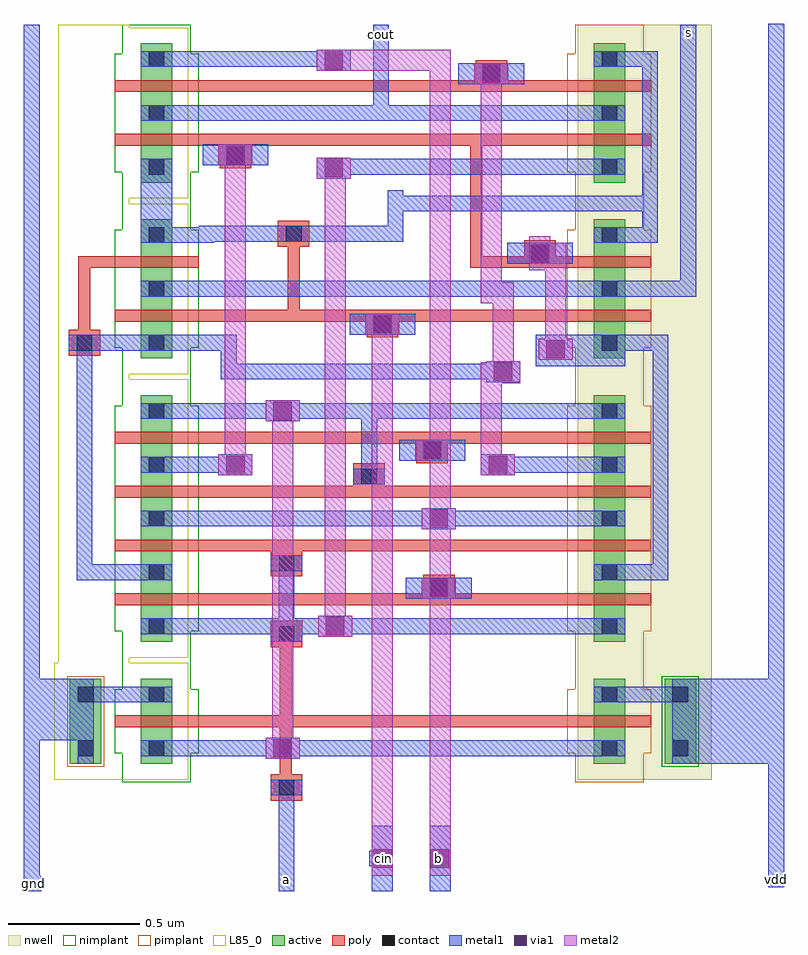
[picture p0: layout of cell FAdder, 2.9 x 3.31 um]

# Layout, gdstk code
from math import pi, radians
import gdstk
lib = gdstk.Library(unit=1e-6, precision=5e-10)
def R(c, l, rs):  # rectangles x0, y0, x1, y1
    for r in rs: c.add(gdstk.rectangle(r[:2], r[2:], *l))
active = (1, 0)
nwell = (2, 0)
poly = (3, 0)
nimplant = (4, 0)
pimplant = (5, 0)
contact = (6, 0)
metal1 = (7, 0)
via1 = (8, 0)
metal2 = (9, 0)
L85_0 = (85, 0)

nmos1v_cdns_764918663880 = lib.new_cell('nmos1v_CDNS_764918663880')
R(nmos1v_cdns_764918663880, active, [(-0.14,0,0,0.12), (0,0,0.045,0.12), (0.045,0,0.185,0.12), (-0.14,0.27,0.185,0.39)])
R(nmos1v_cdns_764918663880, poly, [(0,-0.1,0.045,-0.05), (0,-0.05,0.045,0), (0,0,0.045,0.12), (0,0.12,0.045,0.17), (0,0.17,0.045,0.22)])
R(nmos1v_cdns_764918663880, nimplant, [(-0.1,-0.1,0.145,0.22), (-0.21,-0.07,0.255,0.19)])
R(nmos1v_cdns_764918663880, pimplant, [(-0.15,0.26,0.195,0.4)])
R(nmos1v_cdns_764918663880, contact, [(-0.11,0.03,-0.05,0.09), (0.095,0.03,0.155,0.09), (-0.11,0.3,-0.05,0.36), (0.095,0.3,0.155,0.36)])
R(nmos1v_cdns_764918663880, metal1, [(-0.11,0,-0.05,0.12), (0.095,0,0.155,0.12), (-0.14,0.3,0.185,0.36)])
R(nmos1v_cdns_764918663880, L85_0, [(-0.2,-0.06,0.245,0.45)])

nmos1v_cdns_764918663881 = lib.new_cell('nmos1v_CDNS_764918663881')
R(nmos1v_cdns_764918663881, active, [(-0.05,0,0,0.12), (0,0,0.045,0.12), (0.045,0,0.095,0.12)])
R(nmos1v_cdns_764918663881, poly, [(0,-0.1,0.045,-0.05), (0,-0.05,0.045,0), (0,0,0.045,0.12), (0,0.12,0.045,0.17), (0,0.17,0.045,0.22)])
R(nmos1v_cdns_764918663881, nimplant, [(-0.1,-0.1,0.145,0.22), (-0.12,-0.07,0.165,0.19)])
R(nmos1v_cdns_764918663881, L85_0, [(-0.11,-0.06,0.155,0.18)])

nmos1v_cdns_764918663882 = lib.new_cell('nmos1v_CDNS_764918663882')
R(nmos1v_cdns_764918663882, active, [(-0.05,0,0,0.12), (0,0,0.045,0.12), (0.045,0,0.185,0.12)])
R(nmos1v_cdns_764918663882, poly, [(0,-0.1,0.045,-0.05), (0,-0.05,0.045,0), (0,0,0.045,0.12), (0,0.12,0.045,0.17), (0,0.17,0.045,0.22)])
R(nmos1v_cdns_764918663882, nimplant, [(-0.1,-0.1,0.145,0.22), (-0.12,-0.07,0.255,0.19)])
R(nmos1v_cdns_764918663882, contact, [(0.095,0.03,0.155,0.09)])
R(nmos1v_cdns_764918663882, metal1, [(0.095,0,0.155,0.12)])
R(nmos1v_cdns_764918663882, L85_0, [(-0.11,-0.06,0.245,0.18)])

nmos1v_cdns_764918663883 = lib.new_cell('nmos1v_CDNS_764918663883')
R(nmos1v_cdns_764918663883, active, [(-0.11,0,0,0.12), (0,0,0.045,0.12), (0.045,0,0.185,0.12)])
R(nmos1v_cdns_764918663883, poly, [(0,-0.1,0.045,-0.05), (0,-0.05,0.045,0), (0,0,0.045,0.12), (0,0.12,0.045,0.17), (0,0.17,0.045,0.22)])
R(nmos1v_cdns_764918663883, nimplant, [(-0.1,-0.1,0.145,0.22), (-0.18,-0.07,0.255,0.19)])
R(nmos1v_cdns_764918663883, contact, [(-0.11,0.03,-0.05,0.09), (0.095,0.03,0.155,0.09)])
R(nmos1v_cdns_764918663883, metal1, [(-0.11,0,-0.05,0.12), (0.095,0,0.155,0.12)])
R(nmos1v_cdns_764918663883, L85_0, [(-0.17,-0.06,0.245,0.18)])

pmos1v_cdns_764918663884 = lib.new_cell('pmos1v_CDNS_764918663884')
R(pmos1v_cdns_764918663884, active, [(-0.14,0,0,0.12), (0,0,0.045,0.12), (0.045,0,0.095,0.12)])
R(pmos1v_cdns_764918663884, nwell, [(-0.2,-0.06,0.155,0.18)])
R(pmos1v_cdns_764918663884, poly, [(0,-0.1,0.045,-0.05), (0,-0.05,0.045,0), (0,0,0.045,0.12), (0,0.12,0.045,0.17), (0,0.17,0.045,0.22)])
R(pmos1v_cdns_764918663884, pimplant, [(-0.1,-0.1,0.145,0.22), (-0.21,-0.07,0.165,0.19)])
R(pmos1v_cdns_764918663884, contact, [(-0.11,0.03,-0.05,0.09)])
R(pmos1v_cdns_764918663884, metal1, [(-0.11,0,-0.05,0.12)])

pmos1v_cdns_764918663885 = lib.new_cell('pmos1v_CDNS_764918663885')
R(pmos1v_cdns_764918663885, active, [(-0.14,0,0,0.12), (0,0,0.045,0.12), (0.045,0,0.155,0.12)])
R(pmos1v_cdns_764918663885, nwell, [(-0.2,-0.06,0.215,0.18)])
R(pmos1v_cdns_764918663885, poly, [(0,-0.1,0.045,-0.05), (0,-0.05,0.045,0), (0,0,0.045,0.12), (0,0.12,0.045,0.17), (0,0.17,0.045,0.22)])
R(pmos1v_cdns_764918663885, pimplant, [(-0.1,-0.1,0.145,0.22), (-0.21,-0.07,0.225,0.19)])
R(pmos1v_cdns_764918663885, contact, [(-0.11,0.03,-0.05,0.09), (0.095,0.03,0.155,0.09)])
R(pmos1v_cdns_764918663885, metal1, [(-0.11,0,-0.05,0.12), (0.095,0,0.155,0.12)])

nmos1v_cdns_764918663886 = lib.new_cell('nmos1v_CDNS_764918663886')
R(nmos1v_cdns_764918663886, active, [(-0.11,0,0,0.12), (0,0,0.045,0.12), (0.045,0,0.155,0.12)])
R(nmos1v_cdns_764918663886, poly, [(0,-0.1,0.045,-0.05), (0,-0.05,0.045,0), (0,0,0.045,0.12), (0,0.12,0.045,0.17), (0,0.17,0.045,0.22)])
R(nmos1v_cdns_764918663886, nimplant, [(-0.1,-0.1,0.145,0.22), (-0.18,-0.07,0.225,0.19)])
R(nmos1v_cdns_764918663886, contact, [(-0.11,0.03,-0.05,0.09), (0.095,0.03,0.155,0.09)])
R(nmos1v_cdns_764918663886, metal1, [(-0.11,0,-0.05,0.12), (0.095,0,0.155,0.12)])
R(nmos1v_cdns_764918663886, L85_0, [(-0.17,-0.06,0.215,0.18)])

pmos1v_cdns_764918663887 = lib.new_cell('pmos1v_CDNS_764918663887')
R(pmos1v_cdns_764918663887, active, [(-0.05,0,0,0.12), (0,0,0.045,0.12), (0.045,0,0.155,0.12)])
R(pmos1v_cdns_764918663887, nwell, [(-0.11,-0.06,0.215,0.18)])
R(pmos1v_cdns_764918663887, poly, [(0,-0.1,0.045,-0.05), (0,-0.05,0.045,0), (0,0,0.045,0.12), (0,0.12,0.045,0.17), (0,0.17,0.045,0.22)])
R(pmos1v_cdns_764918663887, pimplant, [(-0.1,-0.1,0.145,0.22), (-0.12,-0.07,0.225,0.19)])
R(pmos1v_cdns_764918663887, contact, [(0.095,0.03,0.155,0.09)])
R(pmos1v_cdns_764918663887, metal1, [(0.095,0,0.155,0.12)])

pmos1v_cdns_764918663888 = lib.new_cell('pmos1v_CDNS_764918663888')
R(pmos1v_cdns_764918663888, active, [(-0.11,0,0,0.12), (0,0,0.045,0.12), (0.045,0,0.155,0.12)])
R(pmos1v_cdns_764918663888, nwell, [(-0.17,-0.06,0.215,0.18)])
R(pmos1v_cdns_764918663888, poly, [(0,-0.1,0.045,-0.05), (0,-0.05,0.045,0), (0,0,0.045,0.12), (0,0.12,0.045,0.17), (0,0.17,0.045,0.22)])
R(pmos1v_cdns_764918663888, pimplant, [(-0.1,-0.1,0.145,0.22), (-0.18,-0.07,0.225,0.19)])
R(pmos1v_cdns_764918663888, contact, [(-0.11,0.03,-0.05,0.09), (0.095,0.03,0.155,0.09)])
R(pmos1v_cdns_764918663888, metal1, [(-0.11,0,-0.05,0.12), (0.095,0,0.155,0.12)])

pmos1v_cdns_764918663889 = lib.new_cell('pmos1v_CDNS_764918663889')
R(pmos1v_cdns_764918663889, active, [(-0.14,-0.27,0.185,-0.15), (-0.14,0,0,0.12), (0,0,0.045,0.12), (0.045,0,0.185,0.12)])
R(pmos1v_cdns_764918663889, nwell, [(-0.2,-0.33,0.245,0.18)])
R(pmos1v_cdns_764918663889, poly, [(0,-0.1,0.045,-0.05), (0,-0.05,0.045,0), (0,0,0.045,0.12), (0,0.12,0.045,0.17), (0,0.17,0.045,0.22)])
R(pmos1v_cdns_764918663889, nimplant, [(-0.15,-0.28,0.195,-0.14)])
R(pmos1v_cdns_764918663889, pimplant, [(-0.1,-0.1,0.145,0.22), (-0.21,-0.07,0.255,0.19)])
R(pmos1v_cdns_764918663889, contact, [(-0.11,-0.24,-0.05,-0.18), (0.095,-0.24,0.155,-0.18), (-0.11,0.03,-0.05,0.09), (0.095,0.03,0.155,0.09)])
R(pmos1v_cdns_764918663889, metal1, [(-0.14,-0.24,0.185,-0.18), (-0.11,0,-0.05,0.12), (0.095,0,0.155,0.12)])

pmos1v_cdns_764918663881 = lib.new_cell('pmos1v_CDNS_7649186638810')
R(pmos1v_cdns_764918663881, active, [(-0.14,0,0,0.12), (0,0,0.045,0.12), (0.045,0,0.095,0.12)])
R(pmos1v_cdns_764918663881, nwell, [(-0.2,-0.06,0.155,0.18)])
R(pmos1v_cdns_764918663881, poly, [(0,-0.1,0.045,-0.05), (0,-0.05,0.045,0), (0,0,0.045,0.12), (0,0.12,0.045,0.17), (0,0.17,0.045,0.22)])
R(pmos1v_cdns_764918663881, pimplant, [(-0.1,-0.1,0.145,0.22), (-0.21,-0.07,0.165,0.19)])
R(pmos1v_cdns_764918663881, contact, [(-0.11,0.03,-0.05,0.09)])
R(pmos1v_cdns_764918663881, metal1, [(-0.11,0,-0.05,0.12)])

m1_po_cdns_764918663880 = lib.new_cell('M1_PO_CDNS_764918663880')
R(m1_po_cdns_764918663880, poly, [(-0.05,-0.06,0.05,0.06)])
R(m1_po_cdns_764918663880, contact, [(-0.03,-0.03,0.03,0.03)])
R(m1_po_cdns_764918663880, metal1, [(-0.03,-0.06,0.03,0.06)])

m2_m1_cdns_764918663881 = lib.new_cell('M2_M1_CDNS_764918663881')
R(m2_m1_cdns_764918663881, metal1, [(-0.04,-0.065,0.04,0.065)])
R(m2_m1_cdns_764918663881, via1, [(-0.035,-0.035,0.035,0.035)])
R(m2_m1_cdns_764918663881, metal2, [(-0.04,-0.065,0.04,0.065)])

m2_m1_cdns_764918663882 = lib.new_cell('M2_M1_CDNS_764918663882')
R(m2_m1_cdns_764918663882, metal1, [(-0.04,-0.125,0.04,0.125)])
R(m2_m1_cdns_764918663882, via1, [(-0.035,-0.035,0.035,0.035)])
R(m2_m1_cdns_764918663882, metal2, [(-0.04,-0.065,0.04,0.065)])

m1_po_cdns_764918663883 = lib.new_cell('M1_PO_CDNS_764918663883')
R(m1_po_cdns_764918663883, poly, [(-0.05,-0.06,0.05,0.06)])
R(m1_po_cdns_764918663883, contact, [(-0.03,-0.03,0.03,0.03)])
R(m1_po_cdns_764918663883, metal1, [(-0.04,-0.125,0.04,0.125)])

m2_m1_cdns_764918663884 = lib.new_cell('M2_M1_CDNS_764918663884')
R(m2_m1_cdns_764918663884, metal1, [(-0.04,-0.065,0.04,0.065)])
R(m2_m1_cdns_764918663884, via1, [(-0.035,-0.035,0.035,0.035)])
R(m2_m1_cdns_764918663884, metal2, [(-0.065,-0.04,0.065,0.04)])

m2_m1_cdns_764918663885 = lib.new_cell('M2_M1_CDNS_764918663885')
R(m2_m1_cdns_764918663885, metal1, [(-0.125,-0.04,0.125,0.04)])
R(m2_m1_cdns_764918663885, via1, [(-0.035,-0.035,0.035,0.035)])
R(m2_m1_cdns_764918663885, metal2, [(-0.065,-0.04,0.065,0.04)])

fadder = lib.new_cell('FAdder')
R(fadder, nwell, [(2.655,1.7,2.895,1.865), (2.895,1.8,3.165,4.23), (2.655,2.855,2.895,2.93), (2.655,3.525,2.895,3.6), (2.655,4.195,2.895,4.23)])
R(fadder, metal1, [(0.55,0.93,0.61,0.99), (1.515,0.93,1.575,0.99), (3.38,0.945,3.44,1.005), (1.885,1.025,1.945,1.085), (2.095,1.025,2.155,1.085), (1.875,4.17,1.935,4.23), (3.045,4.17,3.105,4.23)])
R(fadder, L85_0, [(0.675,1.8,0.945,4.23)])
fadder.add(gdstk.FlexPath([(2.51,3.36),(2.51,3.3275)], 0.045, ends=(0.05, 0.0225), simple_path=True, layer=3, datatype=0))  # poly
fadder.add(gdstk.FlexPath([(2.325,3.9975),(2.325,4.045)], 0.045, ends=(0.0225, 0.05), simple_path=True, layer=3, datatype=0))  # poly
fadder.add(gdstk.FlexPath([(2.6375,3.9975),(2.325,3.9975)], 0.045, ends="extended", simple_path=True, layer=3, datatype=0))  # poly
fadder.add(gdstk.FlexPath([(2.64,3.1225),(1.5725,3.1225)], 0.045, ends=(0.0225, 0), simple_path=True, layer=3, datatype=0))  # poly
fadder.add(gdstk.FlexPath([(1.5725,3.1225),(1.185,3.1225)], 0.045, ends=(0.0225, 0), simple_path=True, layer=3, datatype=0))  # poly
fadder.add(gdstk.FlexPath([(2.2675,3.7925),(1.185,3.7925)], 0.045, ends=(0.0225, 0), simple_path=True, layer=3, datatype=0))  # poly
fadder.add(gdstk.FlexPath([(1.5725,3.1225),(1.5725,3.435)], 0.045, ends=(0.0225, 0.05), simple_path=True, layer=3, datatype=0))  # poly
fadder.add(gdstk.FlexPath([(0.775,3.02),(0.775,3.3275)], 0.045, ends=(0.05, 0.0225), simple_path=True, layer=3, datatype=0))  # poly
fadder.add(gdstk.FlexPath([(0.775,3.3275),(0.89,3.3275)], 0.045, ends=(0.0225, 0), simple_path=True, layer=3, datatype=0))  # poly
fadder.add(gdstk.FlexPath([(1.5425,1.91),(1.5425,1.325)], 0.045, ends="flush", simple_path=True, layer=3, datatype=0))  # poly
fadder.add(gdstk.FlexPath([(2.64,3.7925),(2.2675,3.7925)], 0.045, ends="extended", simple_path=True, layer=3, datatype=0))  # poly
fadder.add(gdstk.FlexPath([(2.2675,3.3275),(2.2675,3.7925)], 0.045, ends="extended", simple_path=True, layer=3, datatype=0))  # poly
fadder.add(gdstk.FlexPath([(1.185,2.0425),(2.64,2.0425)], 0.045, ends="flush", simple_path=True, layer=3, datatype=0))  # poly
fadder.add(gdstk.FlexPath([(1.185,2.6575),(2.64,2.6575)], 0.045, ends="flush", simple_path=True, layer=3, datatype=0))  # poly
fadder.add(gdstk.FlexPath([(2.615,3.3275),(2.51,3.3275)], 0.045, ends=(0, 0.0225), simple_path=True, layer=3, datatype=0))  # poly
fadder.add(gdstk.FlexPath([(1.185,3.9975),(2.64,3.9975)], 0.045, ends="flush", simple_path=True, layer=3, datatype=0))  # poly
fadder.add(gdstk.FlexPath([(2.51,3.3275),(2.2675,3.3275)], 0.045, ends="extended", simple_path=True, layer=3, datatype=0))  # poly
fadder.add(gdstk.FlexPath([(1.185,2.4525),(2.64,2.4525)], 0.045, ends="flush", simple_path=True, layer=3, datatype=0))  # poly
fadder.add(gdstk.FlexPath([(2.64,1.5775),(1.185,1.5775)], 0.045, ends=(0.0225, 0), simple_path=True, layer=3, datatype=0))  # poly
fadder.add(gdstk.FlexPath([(1.185,2.2475),(2.64,2.2475)], 0.045, ends="flush", simple_path=True, layer=3, datatype=0))  # poly
fadder.add(gdstk.FlexPath([(2.97,2.115),(2.97,2.145)], 0.06, ends=(0, 0.03), simple_path=True, layer=7, datatype=0))  # metal1
fadder.add(gdstk.FlexPath([(2.775,2.99),(2.57,2.99)], 0.12, ends=(0.06, 0), simple_path=True, layer=7, datatype=0))  # metal1
fadder.add(gdstk.FlexPath([(2.97,2.145),(2.97,3.02)], 0.06, ends=(0, 0.03), simple_path=True, layer=7, datatype=0))  # metal1
fadder.add(gdstk.FlexPath([(1.545,0.98),(1.515,0.98)], 0.06, ends=(0.03, 0), simple_path=True, layer=7, datatype=0))  # metal1
fadder.add(gdstk.FlexPath([(2.57,2.99),(2.57,2.995)], 0.06, ends=(0.03, 0.04), simple_path=True, layer=7, datatype=0))  # metal1
fadder.add(gdstk.FlexPath([(2.57,2.99),(2.495,2.99)], 0.12, ends=(0.06, 0), simple_path=True, layer=7, datatype=0))  # metal1
fadder.add(gdstk.FlexPath([(1.11,2.555),(1.35,2.555)], 0.06, ends=(0, 0.065), simple_path=True, layer=7, datatype=0))  # metal1
fadder.add(gdstk.FlexPath([(2.775,1.94),(1.73,1.94)], 0.06, ends=(0.03, 0.065), simple_path=True, layer=7, datatype=0))  # metal1
fadder.add(gdstk.FlexPath([(1.725,3.685),(1.74,3.685)], 0.06, ends=(0.065, 0.03), simple_path=True, layer=7, datatype=0))  # metal1
fadder.add(gdstk.FlexPath([(1.74,3.69),(2.775,3.69)], 0.06, ends="extended", simple_path=True, layer=7, datatype=0))  # metal1
fadder.add(gdstk.FlexPath([(1.545,1.94),(1.05,1.94)], 0.06, ends=(0.03, 0), simple_path=True, layer=7, datatype=0))  # metal1
fadder.add(gdstk.FlexPath([(1.73,1.94),(1.545,1.94)], 0.06, ends=(0.065, 0), simple_path=True, layer=7, datatype=0))  # metal1
fadder.add(gdstk.FlexPath([(1.545,1.94),(1.545,1.91)], 0.06, ends="extended", simple_path=True, layer=7, datatype=0))  # metal1
fadder.add(gdstk.FlexPath([(1.05,2.35),(2.125,2.35)], 0.06, ends=(0, 0.065), simple_path=True, layer=7, datatype=0))  # metal1
fadder.add(gdstk.FlexPath([(2.125,2.35),(2.775,2.35)], 0.06, ends=(0.065, 0), simple_path=True, layer=7, datatype=0))  # metal1
fadder.add(gdstk.FlexPath([(1.05,2.76),(1.53,2.76)], 0.06, ends=(0, 0.065), simple_path=True, layer=7, datatype=0))  # metal1
fadder.add(gdstk.FlexPath([(2.775,1.475),(1.53,1.475)], 0.06, ends=(0, 0.065), simple_path=True, layer=7, datatype=0))  # metal1
fadder.add(gdstk.FlexPath([(1.53,1.475),(1.05,1.475)], 0.06, ends=(0.065, 0), simple_path=True, layer=7, datatype=0))  # metal1
fadder.add(gdstk.FlexPath([(1.53,2.76),(1.86,2.76)], 0.06, ends=(0.065, 0.03), simple_path=True, layer=7, datatype=0))  # metal1
fadder.add(gdstk.FlexPath([(3.41,1.005),(3.41,4.235)], 0.06, ends="flush", simple_path=True, layer=7, datatype=0))  # metal1
fadder.add(gdstk.FlexPath([(3.105,3.225),(3.075,3.225)], 0.06, ends="flush", simple_path=True, layer=7, datatype=0))  # metal1
fadder.add(gdstk.FlexPath([(3.075,3.225),(2.835,3.225)], 0.06, ends="flush", simple_path=True, layer=7, datatype=0))  # metal1
fadder.add(gdstk.FlexPath([(1.325,3.05),(1.325,3.02)], 0.06, ends=(0, 0.03), simple_path=True, layer=7, datatype=0))  # metal1
fadder.add(gdstk.FlexPath([(1.325,3.02),(1.325,2.91)], 0.06, ends=(0, 0.03), simple_path=True, layer=7, datatype=0))  # metal1
fadder.add(gdstk.FlexPath([(0.575,0.955),(0.575,4.23)], 0.06, ends="flush", simple_path=True, layer=7, datatype=0))  # metal1
fadder.add(gdstk.FlexPath([(2.93,3.55),(2.93,4.1)], 0.06, ends=(0.03, 0), simple_path=True, layer=7, datatype=0))  # metal1
fadder.add(gdstk.FlexPath([(1.96,3.57),(1.96,3.55)], 0.06, ends=(0, 0.03), simple_path=True, layer=7, datatype=0))  # metal1
fadder.add(gdstk.FlexPath([(1.24,3.435),(1.5725,3.435)], 0.06, ends=(0.03, 0.06), simple_path=True, layer=7, datatype=0))  # metal1
fadder.add(gdstk.FlexPath([(1.5725,3.435),(1.96,3.435)], 0.06, ends=(0.06, 0.03), simple_path=True, layer=7, datatype=0))  # metal1
fadder.add(gdstk.FlexPath([(1.11,3.02),(1.325,3.02)], 0.06, ends="flush", simple_path=True, layer=7, datatype=0))  # metal1
fadder.add(gdstk.FlexPath([(1.905,3.895),(1.05,3.895)], 0.06, ends="extended", simple_path=True, layer=7, datatype=0))  # metal1
fadder.add(gdstk.FlexPath([(1.86,2.76),(2.775,2.76)], 0.06, ends="extended", simple_path=True, layer=7, datatype=0))  # metal1
fadder.add(gdstk.FlexPath([(1.96,3.435),(1.96,3.57)], 0.06, ends="extended", simple_path=True, layer=7, datatype=0))  # metal1
fadder.add(gdstk.FlexPath([(2.93,3.43),(2.93,4.1)], 0.06, ends="extended", simple_path=True, layer=7, datatype=0))  # metal1
fadder.add(gdstk.FlexPath([(1.96,3.55),(2.93,3.55)], 0.06, ends="extended", simple_path=True, layer=7, datatype=0))  # metal1
fadder.add(gdstk.FlexPath([(1.24,3.43),(1.24,3.435)], 0.06, ends="extended", simple_path=True, layer=7, datatype=0))  # metal1
fadder.add(gdstk.FlexPath([(1.05,3.43),(1.24,3.43)], 0.06, ends=(0, 0.03), simple_path=True, layer=7, datatype=0))  # metal1
fadder.add(gdstk.FlexPath([(1.725,4.1),(1.725,4.095)], 0.06, ends=(0.03, 0.04), simple_path=True, layer=7, datatype=0))  # metal1
fadder.add(gdstk.FlexPath([(2.715,2.555),(2.35,2.555)], 0.06, ends=(0, 0.065), simple_path=True, layer=7, datatype=0))  # metal1
fadder.add(gdstk.FlexPath([(1.325,2.91),(2.37,2.91)], 0.06, ends=(0.03, 0.065), simple_path=True, layer=7, datatype=0))  # metal1
fadder.add(gdstk.FlexPath([(1.05,3.225),(2.775,3.225)], 0.06, ends="flush", simple_path=True, layer=7, datatype=0))  # metal1
fadder.add(gdstk.FlexPath([(1.92,1.055),(1.9,1.055)], 0.06, ends=(0.03, 0.04), simple_path=True, layer=7, datatype=0))  # metal1
fadder.add(gdstk.FlexPath([(0.775,3.02),(0.99,3.02)], 0.06, ends=(0.06, 0), simple_path=True, layer=7, datatype=0))  # metal1
fadder.add(gdstk.FlexPath([(0.99,2.145),(0.775,2.145)], 0.06, ends=(0, 0.03), simple_path=True, layer=7, datatype=0))  # metal1
fadder.add(gdstk.FlexPath([(0.775,2.145),(0.775,3.02)], 0.06, ends="extended", simple_path=True, layer=7, datatype=0))  # metal1
fadder.add(gdstk.FlexPath([(1.545,1.325),(1.545,0.98)], 0.06, ends=(0, 0.03), simple_path=True, layer=7, datatype=0))  # metal1
fadder.add(gdstk.FlexPath([(1.545,2.18),(1.545,1.94)], 0.06, ends="extended", simple_path=True, layer=7, datatype=0))  # metal1
fadder.add(gdstk.FlexPath([(1.74,3.685),(1.74,3.69)], 0.06, ends="extended", simple_path=True, layer=7, datatype=0))  # metal1
fadder.add(gdstk.FlexPath([(2.125,1.055),(2.13,1.055)], 0.06, ends=(0.03, 0.04), simple_path=True, layer=7, datatype=0))  # metal1
fadder.add(gdstk.FlexPath([(2.835,3.43),(2.93,3.43)], 0.06, ends=(0, 0.03), simple_path=True, layer=7, datatype=0))  # metal1
fadder.add(gdstk.FlexPath([(2.835,2.145),(2.97,2.145)], 0.06, ends="flush", simple_path=True, layer=7, datatype=0))  # metal1
fadder.add(gdstk.FlexPath([(2.97,3.02),(2.835,3.02)], 0.06, ends=(0.03, 0), simple_path=True, layer=7, datatype=0))  # metal1
fadder.add(gdstk.FlexPath([(1.905,4.17),(1.905,3.895)], 0.06, ends=(0, 0.03), simple_path=True, layer=7, datatype=0))  # metal1
fadder.add(gdstk.FlexPath([(3.075,1.5775),(3.36,1.5775)], 0.325, ends=(0, 0.03), simple_path=True, layer=7, datatype=0))  # metal1
fadder.add(gdstk.FlexPath([(2.775,3.895),(1.905,3.895)], 0.06, ends="extended", simple_path=True, layer=7, datatype=0))  # metal1
fadder.add(gdstk.FlexPath([(1.05,3.66),(1.05,3.46)], 0.12, ends="flush", simple_path=True, layer=7, datatype=0))  # metal1
fadder.add(gdstk.FlexPath([(3.075,4.17),(3.075,3.225)], 0.06, ends="flush", simple_path=True, layer=7, datatype=0))  # metal1
fadder.add(gdstk.FlexPath([(2.93,4.1),(2.76,4.1)], 0.06, ends=(0.03, 0), simple_path=True, layer=7, datatype=0))  # metal1
fadder.add(gdstk.FlexPath([(1.86,2.76),(1.86,2.51)], 0.06, ends="extended", simple_path=True, layer=7, datatype=0))  # metal1
fadder.add(gdstk.FlexPath([(0.75,1.6225),(0.63,1.6225)], 0.235, ends=(0, 0.03), simple_path=True, layer=7, datatype=0))  # metal1
fadder.add(gdstk.FlexPath([(1.05,4.1),(1.725,4.1)], 0.06, ends=(0, 0.03), simple_path=True, layer=7, datatype=0))  # metal1
fadder.add(gdstk.FlexPath([(0.99,1.68),(0.75,1.68)], 0.06, ends="flush", simple_path=True, layer=7, datatype=0))  # metal1
fadder.add(gdstk.FlexPath([(2.715,1.68),(3.015,1.68)], 0.06, ends="flush", simple_path=True, layer=7, datatype=0))  # metal1
fadder.add(gdstk.FlexPath([(2.125,2.35),(2.13,2.35)], 0.08, ends=(0.065, 0.04), simple_path=True, layer=9, datatype=0))  # metal2
fadder.add(gdstk.FlexPath([(1.725,4.095),(1.715,4.095)], 0.08, ends=(0.065, 0), simple_path=True, layer=9, datatype=0))  # metal2
fadder.add(gdstk.FlexPath([(2.13,4.095),(1.725,4.095)], 0.08, ends=(0.04, 0.065), simple_path=True, layer=9, datatype=0))  # metal2
fadder.add(gdstk.FlexPath([(2.37,2.91),(2.37,2.905)], 0.08, ends=(0.04, 0), simple_path=True, layer=9, datatype=0))  # metal2
fadder.add(gdstk.FlexPath([(2.37,3.21),(2.37,2.905)], 0.08, ends=(0.04, 0.035), simple_path=True, layer=9, datatype=0))  # metal2
fadder.add(gdstk.FlexPath([(2.325,3.21),(2.37,3.21)], 0.08, ends="extended", simple_path=True, layer=9, datatype=0))  # metal2
fadder.add(gdstk.FlexPath([(2.325,4.045),(2.325,3.21)], 0.08, ends="extended", simple_path=True, layer=9, datatype=0))  # metal2
fadder.add(gdstk.FlexPath([(2.325,2.905),(2.37,2.905)], 0.08, ends=(0.04, 0.065), simple_path=True, layer=9, datatype=0))  # metal2
fadder.add(gdstk.FlexPath([(1.35,2.555),(1.35,3.735)], 0.08, ends="extended", simple_path=True, layer=9, datatype=0))  # metal2
fadder.add(gdstk.FlexPath([(2.57,2.995),(2.57,3.36)], 0.08, ends="extended", simple_path=True, layer=9, datatype=0))  # metal2
fadder.add(gdstk.FlexPath([(2.57,3.36),(2.51,3.36)], 0.08, ends="extended", simple_path=True, layer=9, datatype=0))  # metal2
fadder.add(gdstk.FlexPath([(1.53,1.475),(1.53,2.76)], 0.08, ends="extended", simple_path=True, layer=9, datatype=0))  # metal2
fadder.add(gdstk.FlexPath([(2.325,2.525),(2.325,2.905)], 0.08, ends=(0, 0.04), simple_path=True, layer=9, datatype=0))  # metal2
fadder.add(gdstk.FlexPath([(1.73,1.94),(1.73,3.72)], 0.08, ends=(0.04, 0), simple_path=True, layer=9, datatype=0))  # metal2
fadder.add(gdstk.FlexPath([(1.91,1.055),(1.91,3.09)], 0.08, ends=(0.065, 0.04), simple_path=True, layer=9, datatype=0))  # metal2
fadder.add(gdstk.FlexPath([(2.13,2.35),(2.13,4.095)], 0.08, ends=(0, 0.04), simple_path=True, layer=9, datatype=0))  # metal2
fadder.add(gdstk.FlexPath([(2.13,1.055),(2.13,2.35)], 0.08, ends=(0.065, 0.04), simple_path=True, layer=9, datatype=0))  # metal2
fadder.add(gdstk.Reference(nmos1v_cdns_764918663880, (1.11,1.6), rotation=3*pi/2, x_reflection=True))
fadder.add(gdstk.Reference(nmos1v_cdns_764918663881, (1.11,2.225), rotation=pi/2))
fadder.add(gdstk.Reference(nmos1v_cdns_764918663882, (1.11,3.145), rotation=3*pi/2, x_reflection=True))
fadder.add(gdstk.Reference(nmos1v_cdns_764918663882, (1.11,2.635), rotation=pi/2))
fadder.add(gdstk.Reference(nmos1v_cdns_764918663882, (1.11,3.975), rotation=pi/2))
fadder.add(gdstk.Reference(nmos1v_cdns_764918663883, (1.11,2.065), rotation=3*pi/2, x_reflection=True))
fadder.add(gdstk.Reference(nmos1v_cdns_764918663883, (1.11,3.815), rotation=3*pi/2, x_reflection=True))
fadder.add(gdstk.Reference(nmos1v_cdns_764918663883, (1.11,3.305), rotation=pi/2))
fadder.add(gdstk.Reference(pmos1v_cdns_764918663884, (2.835,2.68), rotation=3*pi/2, x_reflection=True))
fadder.add(gdstk.Reference(pmos1v_cdns_764918663884, (2.835,2.02), rotation=pi/2))
fadder.add(gdstk.Reference(pmos1v_cdns_764918663884, (2.835,3.77), rotation=pi/2))
fadder.add(gdstk.Reference(pmos1v_cdns_764918663885, (2.835,4.02), rotation=3*pi/2, x_reflection=True))
fadder.add(gdstk.Reference(pmos1v_cdns_764918663885, (2.835,3.35), rotation=3*pi/2, x_reflection=True))
fadder.add(gdstk.Reference(nmos1v_cdns_764918663886, (1.11,2.475), rotation=3*pi/2, x_reflection=True))
fadder.add(gdstk.Reference(pmos1v_cdns_764918663887, (2.835,2.27), rotation=3*pi/2, x_reflection=True))
fadder.add(gdstk.Reference(pmos1v_cdns_764918663888, (2.835,2.43), rotation=pi/2))
fadder.add(gdstk.Reference(pmos1v_cdns_764918663889, (2.835,1.6), rotation=3*pi/2, x_reflection=True))
fadder.add(gdstk.Reference(pmos1v_cdns_764918663881, (2.835,3.1), rotation=pi/2))
fadder.add(gdstk.Reference(m1_po_cdns_764918663880, (1.5725,3.435), rotation=pi/2))
fadder.add(gdstk.Reference(m1_po_cdns_764918663880, (0.775,3.02), rotation=pi/2))
fadder.add(gdstk.Reference(m1_po_cdns_764918663880, (1.545,2.18), rotation=pi/2))
fadder.add(gdstk.Reference(m1_po_cdns_764918663880, (1.545,1.91), rotation=pi/2))
fadder.add(gdstk.Reference(m1_po_cdns_764918663880, (1.545,1.325), rotation=pi/2))
fadder.add(gdstk.Reference(m1_po_cdns_764918663880, (1.86,2.51), rotation=pi/2))
fadder.add(gdstk.Reference(m2_m1_cdns_764918663881, (1.35,2.555), rotation=pi/2))
fadder.add(gdstk.Reference(m2_m1_cdns_764918663881, (2.57,2.995), rotation=pi/2))
fadder.add(gdstk.Reference(m2_m1_cdns_764918663881, (1.725,4.095), rotation=pi/2))
fadder.add(gdstk.Reference(m2_m1_cdns_764918663881, (2.125,2.35), rotation=pi/2))
fadder.add(gdstk.Reference(m2_m1_cdns_764918663881, (1.53,2.76), rotation=pi/2))
fadder.add(gdstk.Reference(m2_m1_cdns_764918663881, (2.35,2.555), rotation=pi/2))
fadder.add(gdstk.Reference(m2_m1_cdns_764918663881, (2.37,2.91), rotation=pi/2))
fadder.add(gdstk.Reference(m2_m1_cdns_764918663881, (1.53,1.475), rotation=pi/2))
fadder.add(gdstk.Reference(m2_m1_cdns_764918663881, (1.725,3.685), rotation=pi/2))
fadder.add(gdstk.Reference(m2_m1_cdns_764918663881, (1.73,1.94), rotation=pi/2))
fadder.add(gdstk.Reference(m2_m1_cdns_764918663882, (1.35,3.735), rotation=pi/2))
fadder.add(gdstk.Reference(m2_m1_cdns_764918663882, (2.125,2.085), rotation=pi/2))
fadder.add(gdstk.Reference(m2_m1_cdns_764918663882, (2.1,2.61), rotation=pi/2))
fadder.add(gdstk.Reference(m2_m1_cdns_764918663882, (1.91,3.09), rotation=pi/2))
fadder.add(gdstk.Reference(m2_m1_cdns_764918663882, (2.325,4.045), rotation=pi/2))
fadder.add(gdstk.Reference(m1_po_cdns_764918663883, (1.35,3.735), rotation=pi/2))
fadder.add(gdstk.Reference(m1_po_cdns_764918663883, (2.51,3.36), rotation=pi/2))
fadder.add(gdstk.Reference(m1_po_cdns_764918663883, (2.125,2.085), rotation=pi/2))
fadder.add(gdstk.Reference(m1_po_cdns_764918663883, (2.1,2.61), rotation=pi/2))
fadder.add(gdstk.Reference(m1_po_cdns_764918663883, (1.91,3.09), rotation=pi/2))
fadder.add(gdstk.Reference(m1_po_cdns_764918663883, (2.325,4.045), rotation=pi/2))
fadder.add(gdstk.Reference(m2_m1_cdns_764918663884, (2.51,3.36), rotation=pi/2))
fadder.add(gdstk.Reference(m2_m1_cdns_764918663885, (1.91,1.055), rotation=pi/2))
fadder.add(gdstk.Reference(m2_m1_cdns_764918663885, (2.13,1.055), rotation=pi/2))
fadder.add(gdstk.Label('a', (1.545,0.975), layer=7, texttype=3))
fadder.add(gdstk.Label('cin', (1.915,1.055), layer=7, texttype=3))
fadder.add(gdstk.Label('cout', (1.905,4.195), layer=7, texttype=3))
fadder.add(gdstk.Label('s', (3.075,4.2), layer=7, texttype=3))
fadder.add(gdstk.Label('b', (2.125,1.055), layer=7, texttype=3))
fadder.add(gdstk.Label('vdd', (3.41,0.975), layer=7, texttype=3))
fadder.add(gdstk.Label('gnd', (0.58,0.96), layer=7, texttype=3))

lib.write_gds('FAdder.gds')
